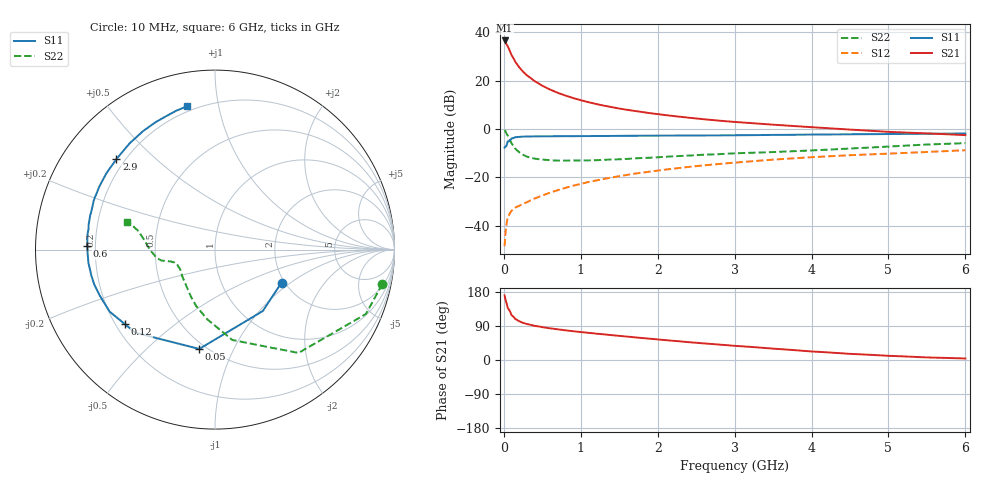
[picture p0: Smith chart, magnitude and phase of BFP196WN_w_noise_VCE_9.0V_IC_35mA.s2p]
! (c) 2017  Infineon Technologies AG, Munich
! Infineon Technologies  Discrete & RF Semiconductors
! BFP196WN
! VCE =  9.0 V,  IC =  35 mA
! Common Emitter S-Parameters:  Jan 2017
# GHz  S  MA  R  50
!  f  S11  S21  S12  S22
! GHz  MAG  ANG  MAG  ANG  MAG  ANG  MAG  ANG
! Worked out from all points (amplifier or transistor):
!   77 points, 10 MHz to 6 GHz, reference 50 ohm
!   highest |S21| = 36.7 dB at 10 MHz (marker M1)
!   |S21| within 3 dB of that: start of sweep to 59.1 MHz
!   unconditionally stable (mu >= 1): 777.3 MHz to 2.708 GHz
!   at 130 MHz: K = 0.43, MSG = 31.0 dB, |S12| = -33.0 dB
!   at 2.2 GHz: K = 1.02, MAG = 10.0 dB, |S12| = -16.4 dB
!   at 6 GHz: K = 0.89, MSG = 3.1 dB, |S12| = -8.7 dB
!   lowest NFmin = 1.11 dB at 450 MHz
!   S11 on the Smith chart (normalised r, x): 10 MHz: 1.93, -0.86; 50 MHz: 0.46, -0.74; 120 MHz: 0.24, -0.34; 600 MHz: 0.17, +0.01; 2.9 GHz: 0.17, +0.38; 6 GHz: 0.17, +0.81
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0.01  0.4138 -26.4  68.21 170.4  0.0038 82.1  0.9519 -11.6
0.02  0.4337 -52.1  63.95 160.2  0.0068 72.5  0.9142 -23.1
0.05  0.5603 -99.0  51.86 137.9  0.015 56.5  0.74 -51.1
0.1  0.6415 -133.8  34.05 118.1  0.0205 48.0  0.5128 -79.1
0.12  0.6514 -140.3  30.17 114.9  0.0219 46.9  0.4599 -84.8
0.15  0.6811 -149.5  24.6 108.2  0.0239 45.5  0.392 -96.1
0.2  0.6913 -158.2  18.97 102.2  0.026 46.8  0.3322 -108.3
0.25  0.7004 -164.0  15.41 98.0  0.0287 47.8  0.2952 -116.8
0.3  0.7039 -168.2  12.95 94.9  0.0308 49.8  0.2695 -124.1
0.4  0.7091 -174.1  9.829 90.1  0.0368 54.8  0.2456 -133.9
0.5  0.7099 -178.2  7.888 86.7  0.0423 58.0  0.2349 -141.2
0.6  0.7119 178.5  6.596 83.6  0.0487 60.5  0.228 -146.4
0.7  0.7133 175.8  5.649 81.0  0.0546 62.9  0.2235 -150.1
0.8  0.7154 173.1  4.948 78.3  0.061 64.3  0.223 -152.5
1.1  0.7186 166.7  3.609 71.7  0.0807 65.5  0.2263 -158.5
1.5  0.7256 159.5  2.667 63.7  0.1064 65.3  0.2381 -162.8
2.1  0.7346 149.7  1.955 52.5  0.1455 62.9  0.268 -166.0
2.9  0.7448 137.5  1.452 39.1  0.1966 57.7  0.31 -169.3
3.1  0.7485 134.5  1.374 36.1  0.2088 56.1  0.3201 -171.0
4.1  0.7736 120.1  1.073 21.4  0.2678 48.4  0.3691 178.4
5.1  0.7938 109.1  0.865 10.3  0.3165 41.1  0.4448 166.0
6  0.8132 101.1  0.753 4.0  0.3662 35.0  0.5133 162.3
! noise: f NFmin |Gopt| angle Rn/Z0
0.45  1.11  0.47  179  0.05
0.9  1.24  0.53  186  0.05
1.9  2.17  0.68  212  0.13
2.4  2.91  0.69  219  0.25
